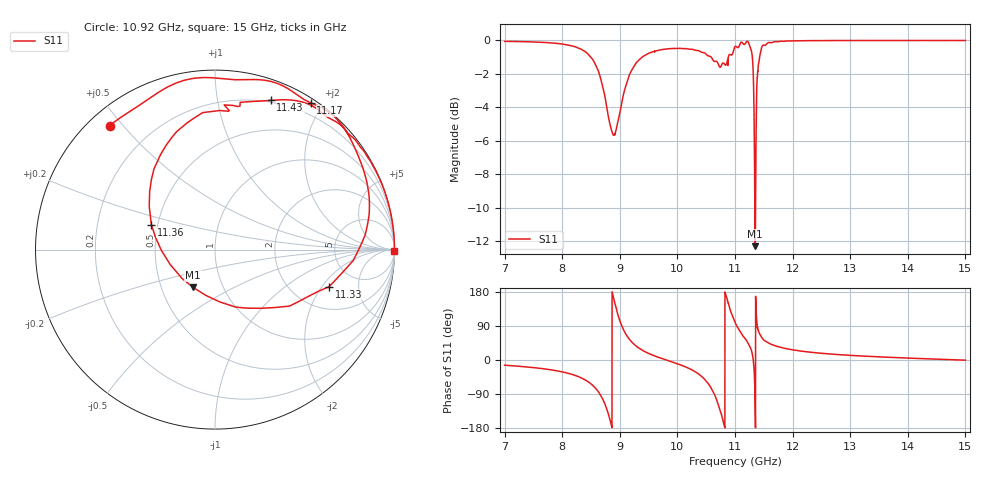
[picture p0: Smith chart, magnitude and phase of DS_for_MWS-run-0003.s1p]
! TOUCHSTONE file generated by CST DESIGN STUDIO
! Date and time: Mon Feb 10 16:46:52 2025
! Project name: C:\Work\MatlabApps\UnitCellType2OptimizationMatlab\CST\unitcell.cst
! Tree item: Tasks\Sweep1\SPara1\S-Parameters
! Header version: 2024
! Port assignment regex: !\s*Touchstone port\s*([0-9]+)\s*=\s*(CST MWS port|CST DES external port|CST DES block port)\s*(.+)\s* \(\"(.*)\"\)(\s*mode\s*([0-9]+))?.*
! Touchstone port assignment:
! Touchstone port 1 = CST DES external port 1 ("")
# GHz S MA R 50
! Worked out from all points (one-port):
!   4001 points, 7 GHz to 15 GHz, reference 50 ohm
!   lowest |S11| = -12.3 dB at 11.35 GHz (marker M1), VSWR 1.64, Z = 36.1 - j16.1 ohm
!   |S11| at or under -10 dB: 11.345 GHz to 11.35689 GHz (11.89 MHz wide, 0.105 % of centre)
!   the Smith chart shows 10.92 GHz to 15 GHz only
!   S11 on the Smith chart (normalised r, x): 10.92 GHz: 0.06, +0.46; 11.17 GHz: 0.05, +1.84; 11.33 GHz: 3.16, -2.35; 11.36 GHz: 0.46, +0.15; 11.43 GHz: 0.18, +1.43; 15 GHz: open
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7  0.9937 -13.7
8  0.9759 -31.3
8.398  0.9261 -52.4
8.656  0.7823 -90.4
8.75  0.6681 -119.7
8.846  0.5475 -167.3
9  0.6074 103.6
9.166  0.7884 54.8
9.342  0.8772 30.4
10  0.9465 -9.8
10.422  0.9219 -43.5
10.656  0.8665 -95.2
10.732  0.8339 -128.3
10.804  0.855 -167.6
10.92  0.9067 130.4
11  0.9592 100.0
11.174  0.9764 56.9
11.284  0.9311 25.6
11.328  0.6684 -18.0
11.35  0.2432 -120.3
11.36  0.381 158.5
11.386  0.7755 88.0
11.426  0.8879 69.5
11.59  0.9862 44.0
12  0.9974 26.8
13  0.9994 12.2
14  0.9999 5.1
15  0.9996 -0.5
